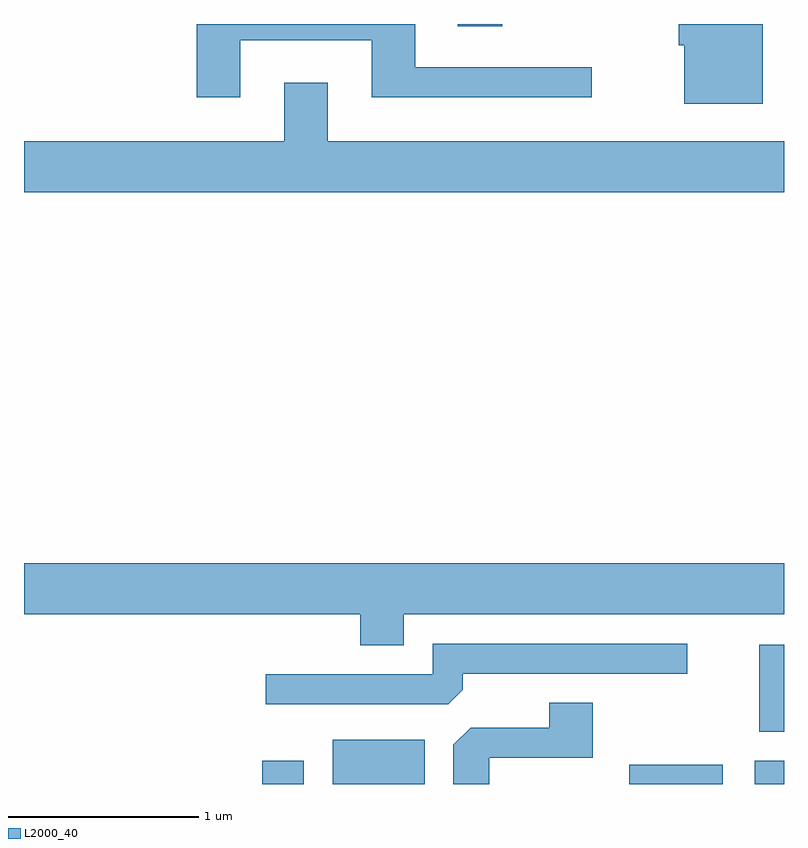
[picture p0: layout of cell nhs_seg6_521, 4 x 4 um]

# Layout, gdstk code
import gdstk
lib = gdstk.Library(unit=1e-6, precision=1e-09)
def R(c, l, rs):  # rectangles x0, y0, x1, y1
    for r in rs: c.add(gdstk.rectangle(r[:2], r[2:], *l))
def P(c, l, *ps):  # polygons
    for p in ps: c.add(gdstk.Polygon(p, *l))
L2000_40 = (2000, 40)

nhs_seg6_521 = lib.new_cell('nhs_seg6_521')
R(nhs_seg6_521, L2000_40, [(200.866,1640.162,201.084,1640.284), (201.236,1640.162,201.719,1640.394), (202.796,1640.162,203.289,1640.264), (203.456,1640.162,203.611,1640.284), (203.481,1640.436,203.611,1640.894), (201.893,1644.151,202.129,1644.162)])
P(nhs_seg6_521, L2000_40, [(200.749,1644.076),(201.441,1644.076),(201.441,1643.776),(202.598,1643.776),(202.598,1643.934),(201.669,1643.934),(201.669,1644.162),(200.521,1644.162),(200.521,1643.776),(200.749,1643.776)],
  [(203.499,1644.162),(203.056,1644.162),(203.056,1644.051),(203.086,1644.051),(203.086,1643.741),(203.499,1643.741)],
  [(203.611,1643.544),(201.209,1643.544),(201.209,1643.854),(200.981,1643.854),(200.981,1643.544),(199.611,1643.544),(199.611,1643.276),(203.611,1643.276)],
  [(201.609,1641.056),(203.611,1641.056),(203.611,1641.324),(199.611,1641.324),(199.611,1641.056),(201.381,1641.056),(201.381,1640.891),(201.609,1640.891)],
  [(201.919,1640.657),(201.919,1640.741),(203.103,1640.741),(203.103,1640.899),(201.761,1640.899),(201.761,1640.739),(200.883,1640.739),(200.883,1640.581),(201.844,1640.581)],
  [(202.059,1640.301),(202.604,1640.301),(202.604,1640.589),(202.376,1640.589),(202.376,1640.459),(201.962,1640.459),(201.871,1640.369),(201.871,1640.162),(202.059,1640.162)])

lib.write_gds('nhs_seg6_521.gds')
